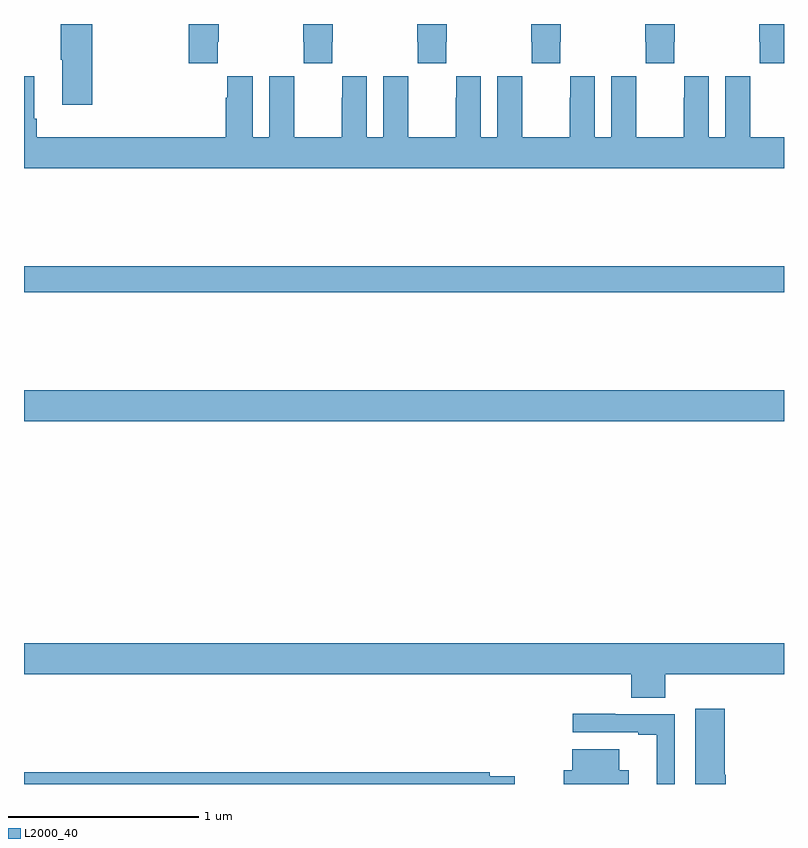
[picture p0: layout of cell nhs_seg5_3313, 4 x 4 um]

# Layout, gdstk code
import gdstk
lib = gdstk.Library(unit=1e-6, precision=1e-09)
def R(c, l, rs):  # rectangles x0, y0, x1, y1
    for r in rs: c.add(gdstk.rectangle(r[:2], r[2:], *l))
def P(c, l, *ps):  # polygons
    for p in ps: c.add(gdstk.Polygon(p, *l))
L2000_40 = (2000, 40)

nhs_seg5_3313 = lib.new_cell('nhs_seg5_3313')
R(nhs_seg5_3313, L2000_40, [(303,908.708,307,908.872), (303,909.388,307,909.524)])
P(nhs_seg5_3313, L2000_40, [(303.359,910.799),(303.193,910.799),(303.193,910.612),(303.2,910.612),(303.2,910.374),(303.359,910.374)],
  [(307,910.799),(306.871,910.799),(306.871,910.705),(306.873,910.705),(306.873,910.593),(307,910.593)],
  [(306.423,910.705),(306.426,910.705),(306.426,910.799),(306.271,910.799),(306.271,910.705),(306.273,910.705),(306.273,910.593),(306.423,910.593)],
  [(305.823,910.705),(305.826,910.705),(305.826,910.799),(305.671,910.799),(305.671,910.705),(305.673,910.705),(305.673,910.593),(305.823,910.593)],
  [(305.223,910.705),(305.226,910.705),(305.226,910.799),(305.071,910.799),(305.071,910.705),(305.073,910.705),(305.073,910.593),(305.223,910.593)],
  [(304.623,910.705),(304.626,910.705),(304.626,910.799),(304.471,910.799),(304.471,910.705),(304.473,910.705),(304.473,910.593),(304.623,910.593)],
  [(304.019,910.705),(304.026,910.705),(304.026,910.799),(303.866,910.799),(303.866,910.593),(304.019,910.593)],
  [(307,910.204),(306.823,910.204),(306.823,910.412),(306.822,910.412),(306.822,910.525),(306.692,910.525),(306.692,910.204),(306.604,910.204),(306.604,910.525),(306.474,910.525),(306.474,910.412),(306.473,910.412),(306.473,910.204),(306.223,910.204),(306.223,910.412),(306.222,910.412),(306.222,910.525),(306.092,910.525),(306.092,910.204),(306.004,910.204),(306.004,910.525),(305.874,910.525),(305.874,910.412),(305.873,910.412),(305.873,910.204),(305.623,910.204),(305.623,910.412),(305.622,910.412),(305.622,910.525),(305.492,910.525),(305.492,910.204),(305.404,910.204),(305.404,910.525),(305.274,910.525),(305.274,910.412),(305.273,910.412),(305.273,910.204),(305.023,910.204),(305.023,910.412),(305.022,910.412),(305.022,910.525),(304.892,910.525),(304.892,910.204),(304.804,910.204),(304.804,910.525),(304.674,910.525),(304.674,910.412),(304.673,910.412),(304.673,910.204),(304.423,910.204),(304.423,910.412),(304.422,910.412),(304.422,910.525),(304.292,910.525),(304.292,910.204),(304.204,910.204),(304.204,910.525),(304.07,910.525),(304.07,910.412),(304.061,910.412),(304.061,910.204),(303.068,910.204),(303.068,910.3),(303.055,910.3),(303.055,910.525),(303,910.525),(303,910.04),(307,910.04)],
  [(306.374,907.376),(307,907.376),(307,907.54),(303,907.54),(303,907.376),(306.197,907.376),(306.197,907.252),(306.374,907.252)],
  [(306.694,906.849),(306.689,906.849),(306.689,907.195),(306.533,907.195),(306.533,906.799),(306.694,906.799)],
  [(306.426,907.167),(306.113,907.167),(306.113,907.169),(305.889,907.169),(305.889,907.071),(306.233,907.071),(306.233,907.059),(306.329,907.059),(306.329,906.799),(306.426,906.799)],
  [(306.184,906.871),(306.133,906.871),(306.133,906.982),(305.885,906.982),(305.885,906.871),(305.84,906.871),(305.84,906.799),(306.184,906.799)],
  [(305.584,906.84),(305.45,906.84),(305.45,906.86),(303,906.86),(303,906.799),(305.584,906.799)])

lib.write_gds('nhs_seg5_3313.gds')
